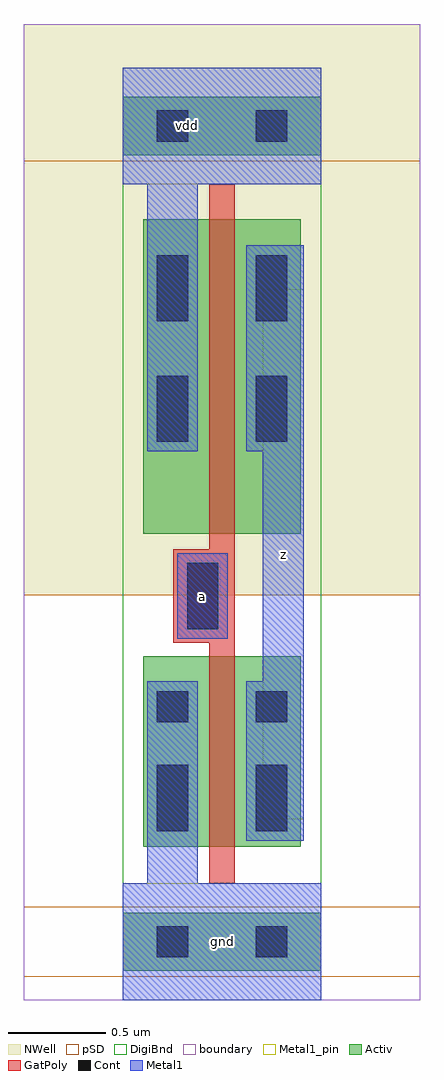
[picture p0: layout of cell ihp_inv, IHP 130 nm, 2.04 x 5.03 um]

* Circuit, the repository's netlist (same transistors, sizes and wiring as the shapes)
* ------------------------------------------------------
*
*		Copyright 2025 IHP PDK Authors
*
*		Licensed under the Apache License, Version 2.0 (the "License");
*		you may not use this file except in compliance with the License.
*		You may obtain a copy of the License at
*
*		   https://www.apache.org/licenses/LICENSE-2.0
*
*		Unless required by applicable law or agreed to in writing, software
*		distributed under the License is distributed on an "AS IS" BASIS,
*		WITHOUT WARRANTIES OR CONDITIONS OF ANY KIND, either express or implied.
*		See the License for the specific language governing permissions and
*		limitations under the License.
*
*		Generated on Thu Jul 30 11:38:32 2026
*
* ------------------------------------------------------
* Flattened from RSC_IHPSG13_INVX2; unchanged W/L/m.
.subckt ihp_inv a z vdd gnd
Xinternal_MN0 z a gnd gnd sg13_lv_nmos w=980.00n l=130.00n m=1
Xinternal_MP0 z a vdd vdd sg13_lv_pmos w=1.62u l=130.00n m=1
.ends ihp_inv

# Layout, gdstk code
import gdstk
lib = gdstk.Library(unit=1e-6, precision=1e-09)
def R(c, l, rs):  # rectangles x0, y0, x1, y1
    for r in rs: c.add(gdstk.rectangle(r[:2], r[2:], *l))
def P(c, l, *ps):  # polygons
    for p in ps: c.add(gdstk.Polygon(p, *l))
Activ = (1, 0)
GatPoly = (5, 0)
Cont = (6, 0)
Metal1 = (8, 0)
Metal1_pin = (8, 2)
pSD = (14, 0)
DigiBnd = (16, 0)
NWell = (31, 0)
boundary = (189, 4)

ihp_inv = lib.new_cell('ihp_inv')
R(ihp_inv, Activ, [(0.51,0.15,1.53,0.45), (0.615,0.79,1.425,1.77), (0.615,2.4,1.425,4.02), (0.51,4.35,1.53,4.65)])
P(ihp_inv, GatPoly, [(0.955,0.6),(0.955,1.84),(0.77,1.84),(0.77,2.32),(0.955,2.32),(0.955,4.2),(1.085,4.2),(1.085,0.6)])
R(ihp_inv, Cont, [(0.685,0.22,0.845,0.38), (1.195,0.22,1.355,0.38), (0.685,0.87,0.845,1.21), (1.195,0.87,1.355,1.21), (0.685,1.43,0.845,1.59), (1.195,1.43,1.355,1.59), (0.84,1.91,1,2.25), (0.685,2.875,0.845,3.215), (1.195,2.875,1.355,3.215), (0.685,3.495,0.845,3.835), (1.195,3.495,1.355,3.835), (0.685,4.42,0.845,4.58), (1.195,4.42,1.355,4.58)])
R(ihp_inv, Metal1, [(0.51,0,1.53,0.6), (0.635,0.6,0.895,1.64), (1.145,0.82,1.44,1.64), (1.23,1.64,1.44,2.825), (0.79,1.86,1.05,2.3), (0.635,2.825,0.895,4.2), (1.145,2.825,1.44,3.885), (0.51,4.2,1.53,4.8)])
R(ihp_inv, Metal1_pin, [(0.51,0,1.53,0.6), (1.23,0.93,1.44,3.66), (0.79,1.86,1.05,2.3), (0.51,4.2,1.53,4.8)])
R(ihp_inv, pSD, [(0,0.12,2.04,0.48), (0,2.085,2.04,4.32)])
R(ihp_inv, DigiBnd, [(0.51,0,1.53,4.8)])
R(ihp_inv, NWell, [(0,2.085,2.04,5.025)])
R(ihp_inv, boundary, [(0,0,2.04,5.025)])
ihp_inv.add(gdstk.Label('gnd', (1.02,0.3), layer=8, texttype=25))
ihp_inv.add(gdstk.Label('vdd', (0.84,4.5), layer=8, texttype=25))
ihp_inv.add(gdstk.Label('a', (0.92,2.08), layer=8, texttype=25))
ihp_inv.add(gdstk.Label('z', (1.335,2.295), layer=8, texttype=25))

lib.write_gds('ihp_inv.gds')
